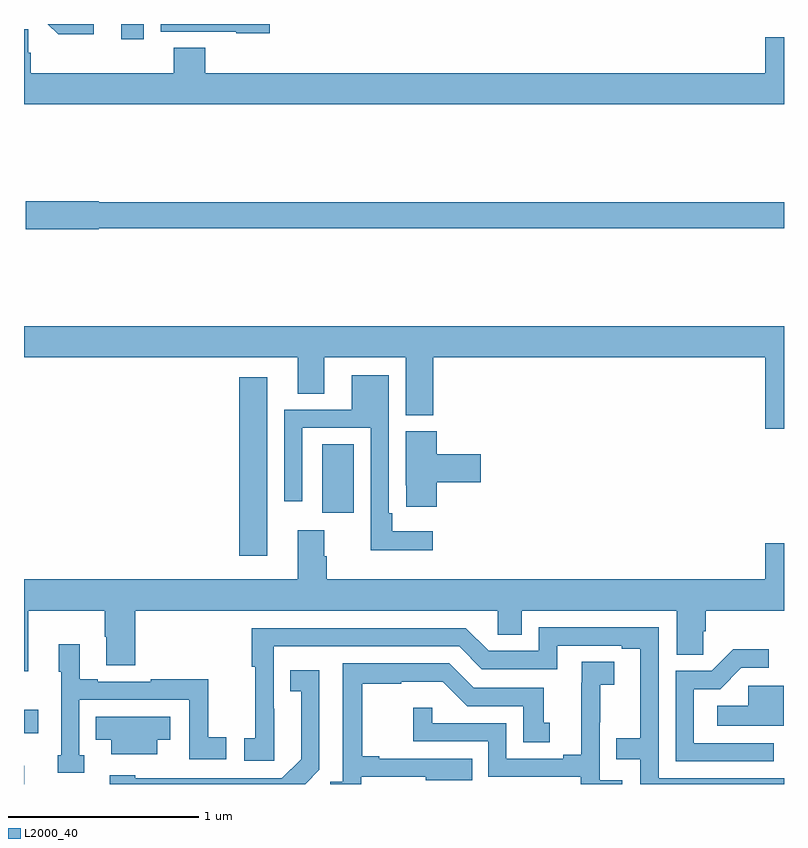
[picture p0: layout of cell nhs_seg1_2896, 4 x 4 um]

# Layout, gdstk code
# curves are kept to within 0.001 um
import gdstk
lib = gdstk.Library(unit=1e-6, precision=1e-09)
def R(c, l, rs):  # rectangles x0, y0, x1, y1
    for r in rs: c.add(gdstk.rectangle(r[:2], r[2:], *l))
def P(c, l, *ps):  # polygons
    for p in ps: c.add(gdstk.Polygon(p, *l))
L2000_40 = (2000, 40)

nhs_seg1_2896 = lib.new_cell('nhs_seg1_2896')
R(nhs_seg1_2896, L2000_40, [(269,504.199,269.001,504.295), (269,504.467,269.074,504.589), (270.134,505.401,270.28,506.341), (270.569,505.626,270.736,505.988), (269.513,508.119,269.631,508.199)])
P(nhs_seg1_2896, L2000_40, [(270.293,508.199),(269.721,508.199),(269.721,508.158),(270.117,508.158),(270.117,508.151),(270.293,508.151)],
  [(269.368,508.199),(269.126,508.199),(269.18,508.145),(269.368,508.145)],
  [(273,508.129),(272.9,508.129),(272.9,507.94),(269.954,507.94),(269.954,508.073),(269.789,508.073),(269.789,507.94),(269.036,507.94),(269.036,508.049),(269.022,508.049),(269.022,508.172),(269,508.172),(269,507.776),(273,507.776)],
  [(269.394,507.124),(273,507.124),(273,507.26),(269.394,507.26),(269.394,507.266),(269.01,507.266),(269.01,507.119),(269.394,507.119)],
  [(273,506.608),(269,506.608),(269,506.444),(270.44,506.444),(270.44,506.254),(270.58,506.254),(270.58,506.444),(271.01,506.444),(271.01,506.14),(271.154,506.14),(271.154,506.444),(272.9,506.444),(272.9,506.07),(273,506.07)],
  [(271.15,505.528),(270.937,505.528),(270.937,505.624),(270.921,505.624),(270.921,506.35),(270.725,506.35),(270.725,506.169),(270.369,506.169),(270.369,505.686),(270.465,505.686),(270.465,506.073),(270.825,506.073),(270.825,505.43),(271.15,505.43)],
  [(271.172,505.787),(271.405,505.787),(271.405,505.934),(271.172,505.934),(271.172,506.055),(271.01,506.055),(271.01,505.771),(271.011,505.771),(271.011,505.659),(271.172,505.659)],
  [(269.023,505.112),(269.425,505.112),(269.425,504.974),(269.432,504.974),(269.432,504.823),(269.585,504.823),(269.585,505.112),(271.494,505.112),(271.494,504.985),(271.621,504.985),(271.621,505.112),(272.435,505.112),(272.435,504.88),(272.574,504.88),(272.574,505.003),(272.588,505.003),(272.588,505.112),(273,505.112),(273,505.465),(272.9,505.465),(272.9,505.276),(270.593,505.276),(270.593,505.397),(270.58,505.397),(270.58,505.534),(270.44,505.534),(270.44,505.276),(269,505.276),(269,504.792),(269.023,504.792)],
  [(273,504.228),(272.34,504.228),(272.34,505.023),(271.71,505.023),(271.71,504.9),(271.446,504.9),(271.326,505.02),(270.199,505.02),(270.199,504.817),(270.217,504.817),(270.217,504.441),(270.159,504.441),(270.159,504.321),(270.316,504.321),(270.315,504.924),(271.29,504.924),(271.41,504.804),(271.806,504.804),(271.806,504.927),(272.147,504.927),(272.147,504.912),(272.243,504.912),(272.243,504.439),(272.116,504.439),(272.116,504.33),(272.244,504.33),(272.244,504.199),(273,504.199)],
  [(269.317,504.351),(269.292,504.351),(269.292,504.642),(269.871,504.642),(269.871,504.33),(270.064,504.33),(270.064,504.446),(269.97,504.446),(269.97,504.751),(269.668,504.751),(269.668,504.738),(269.389,504.738),(269.389,504.751),(269.293,504.751),(269.293,504.934),(269.183,504.934),(269.183,504.789),(269.196,504.789),(269.196,504.351),(269.177,504.351),(269.177,504.257),(269.317,504.257)],
  [(272.947,504.414),(272.526,504.414),(272.526,504.699),(272.664,504.699),(272.775,504.81),(272.92,504.81),(272.92,504.908),(272.732,504.908),(272.619,504.795),(272.43,504.795),(272.43,504.318),(272.947,504.318)],
  [(272.149,504.219),(272.031,504.219),(272.031,504.523),(272.033,504.523),(272.033,504.721),(272.107,504.721),(272.107,504.842),(271.936,504.842),(271.936,504.731),(271.934,504.731),(271.934,504.353),(271.838,504.353),(271.838,504.333),(271.539,504.333),(271.539,504.519),(271.149,504.519),(271.149,504.601),(271.048,504.601),(271.048,504.423),(271.443,504.423),(271.443,504.237),(271.93,504.237),(271.93,504.199),(272.149,504.199)],
  [(270.774,504.237),(271.115,504.237),(271.115,504.218),(271.358,504.218),(271.358,504.333),(270.871,504.333),(270.871,504.346),(270.779,504.346),(270.779,504.726),(270.986,504.726),(270.986,504.737),(271.204,504.737),(271.332,504.609),(271.628,504.609),(271.628,504.418),(271.768,504.418),(271.768,504.522),(271.735,504.522),(271.735,504.705),(271.368,504.705),(271.239,504.834),(270.678,504.834),(270.678,504.211),(270.613,504.211),(270.613,504.199),(270.774,504.199)],
  [(270.555,504.274),(270.555,504.799),(270.4,504.799),(270.4,504.686),(270.458,504.686),(270.458,504.329),(270.357,504.228),(269.586,504.228),(269.586,504.244),(269.45,504.244),(269.45,504.199),(270.48,504.199)],
  [(272.998,504.717),(272.811,504.717),(272.811,504.61),(272.649,504.61),(272.649,504.506),(272.998,504.506)],
  [(269.701,504.431),(269.77,504.431),(269.77,504.553),(269.377,504.553),(269.377,504.431),(269.459,504.431),(269.459,504.356),(269.701,504.356)])

lib.write_gds('nhs_seg1_2896.gds')
